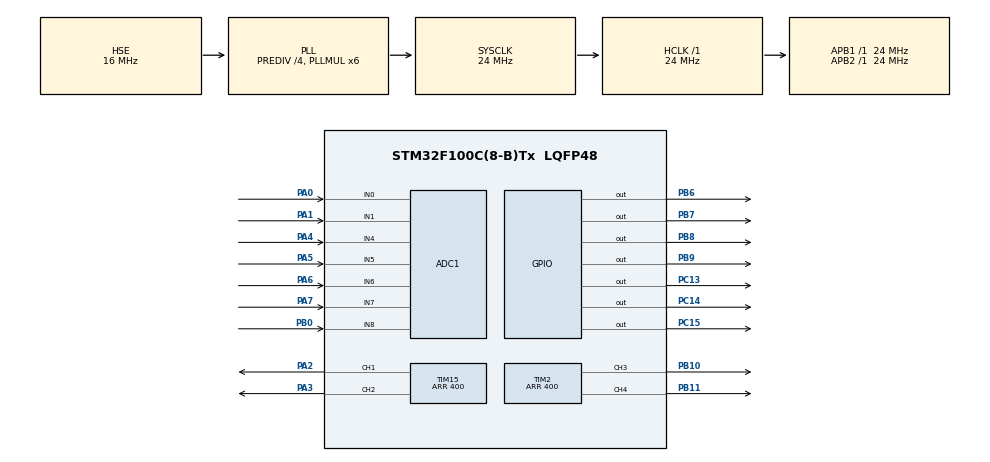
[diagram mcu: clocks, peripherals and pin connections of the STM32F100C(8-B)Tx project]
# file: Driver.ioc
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ADC1.Channel-1\#ChannelRegularConversion=ADC_CHANNEL_0
ADC1.Channel-11\#ChannelRegularConversion=ADC_CHANNEL_1
ADC1.Channel-12\#ChannelRegularConversion=ADC_CHANNEL_4
ADC1.Channel-13\#ChannelRegularConversion=ADC_CHANNEL_5
ADC1.Channel-14\#ChannelRegularConversion=ADC_CHANNEL_6
ADC1.Channel-15\#ChannelRegularConversion=ADC_CHANNEL_7
ADC1.Channel-16\#ChannelRegularConversion=ADC_CHANNEL_8
ADC1.ContinuousConvMode=ENABLE
ADC1.DataAlign=ADC_DATAALIGN_RIGHT
ADC1.DiscontinuousConvMode=DISABLE
ADC1.EnableAnalogWatchDog=false
ADC1.EnableRegularConversion=ENABLE
ADC1.ExternalTrigConvEdgeChoice=NONE
ADC1.InjNumberOfConversion=0
ADC1.NbrOfConversion=7
ADC1.NbrOfConversionFlag=1
ADC1.Rank-1\#ChannelRegularConversion=1
ADC1.Rank-11\#ChannelRegularConversion=2
ADC1.Rank-12\#ChannelRegularConversion=3
ADC1.Rank-13\#ChannelRegularConversion=4
ADC1.Rank-14\#ChannelRegularConversion=5
ADC1.Rank-15\#ChannelRegularConversion=6
ADC1.Rank-16\#ChannelRegularConversion=7
ADC1.SamplingTime-1\#ChannelRegularConversion=ADC_SAMPLETIME_239CYCLES_5
ADC1.SamplingTime-11\#ChannelRegularConversion=ADC_SAMPLETIME_239CYCLES_5
ADC1.SamplingTime-12\#ChannelRegularConversion=ADC_SAMPLETIME_1CYCLE_5
ADC1.SamplingTime-13\#ChannelRegularConversion=ADC_SAMPLETIME_1CYCLE_5
ADC1.SamplingTime-14\#ChannelRegularConversion=ADC_SAMPLETIME_1CYCLE_5
ADC1.SamplingTime-15\#ChannelRegularConversion=ADC_SAMPLETIME_1CYCLE_5
ADC1.SamplingTime-16\#ChannelRegularConversion=ADC_SAMPLETIME_1CYCLE_5
ADC1.ScanConvMode=ADC_SCAN_ENABLE
ADC1.master=1
Dma.ADC1.0.Direction=DMA_PERIPH_TO_MEMORY
Dma.ADC1.0.Instance=DMA1_Channel1
Dma.ADC1.0.MemDataAlignment=DMA_MDATAALIGN_HALFWORD
Dma.ADC1.0.MemInc=DMA_MINC_ENABLE
Dma.ADC1.0.Mode=DMA_CIRCULAR
Dma.ADC1.0.PeriphDataAlignment=DMA_PDATAALIGN_HALFWORD
Dma.ADC1.0.PeriphInc=DMA_PINC_DISABLE
Dma.ADC1.0.Priority=DMA_PRIORITY_LOW
Dma.Request0=ADC1
Mcu.Family=STM32F1
Mcu.Name=STM32F100C(8-B)Tx
Mcu.Package=LQFP48
NVIC.DMA1_Channel1_IRQn=true\:0\:0\:false\:false\:true
NVIC.PriorityGroup=NVIC_PRIORITYGROUP_4
NVIC.TIM6_DAC_IRQn=true\:7\:0\:true\:false\:true
PA0-WKUP.Signal=ADCx_IN0
PA1.Signal=ADCx_IN1
PA13.Mode=Serial_Wire
PA13.Signal=SYS_JTMS-SWDIO
PA14.Mode=Serial_Wire
PA14.Signal=SYS_JTCK-SWCLK
PA2.Signal=S_TIM15_CH1
PA3.Signal=S_TIM15_CH2
PA4.Signal=ADCx_IN4
PA5.Signal=ADCx_IN5
PA6.Signal=ADCx_IN6
PA7.Signal=ADCx_IN7
PB0.Signal=ADCx_IN8
PB10.Signal=S_TIM2_CH3
PB11.Signal=S_TIM2_CH4
PB6.Signal=GPIO_Output
PB7.Signal=GPIO_Output
PB8.Signal=GPIO_Output
PB9.Signal=GPIO_Output
PC13-TAMPER-RTC.Signal=GPIO_Output
PC14-OSC32_IN.Signal=GPIO_Output
PC15-OSC32_OUT.Signal=GPIO_Output
PD0-OSC_IN.Mode=HSE-External-Oscillator
PD0-OSC_IN.Signal=RCC_OSC_IN
PD1-OSC_OUT.Mode=HSE-External-Oscillator
PD1-OSC_OUT.Signal=RCC_OSC_OUT
ProjectManager.HeapSize=0x200
ProjectManager.StackSize=0x400
ProjectManager.TargetToolchain=MDK-ARM V4
RCC.AHBFreq_Value=24000000
RCC.APB1Freq_Value=24000000
RCC.APB1TimFreq_Value=24000000
RCC.APB2Freq_Value=24000000
RCC.APB2TimFreq_Value=24000000
RCC.HCLKFreq_Value=24000000
RCC.HSEDivPLL=RCC_HSE_PREDIV_DIV4
RCC.HSE_VALUE=16000000
RCC.PLLMUL=RCC_PLL_MUL6
RCC.PLLSource=RCC_PLLSOURCE_HSE
RCC.SYSCLKFreq_VALUE=24000000
RCC.SYSCLKSource=RCC_SYSCLKSOURCE_PLLCLK
SH.ADCx_IN0.0=ADC1_IN0,IN0
SH.ADCx_IN1.0=ADC1_IN1,IN1
SH.ADCx_IN4.0=ADC1_IN4,IN4
SH.ADCx_IN5.0=ADC1_IN5,IN5
SH.ADCx_IN6.0=ADC1_IN6,IN6
SH.ADCx_IN7.0=ADC1_IN7,IN7
SH.ADCx_IN8.0=ADC1_IN8,IN8
SH.S_TIM15_CH1.0=TIM15_CH1,PWM Generation1 CH1
SH.S_TIM15_CH2.0=TIM15_CH2,PWM Generation2 CH2
SH.S_TIM2_CH3.0=TIM2_CH3,PWM Generation3 CH3
SH.S_TIM2_CH4.0=TIM2_CH4,PWM Generation4 CH4
TIM15.Channel-PWM\ Generation2\ CH2=TIM_CHANNEL_2
TIM15.Period=400
TIM2.Channel-PWM\ Generation3\ CH3=TIM_CHANNEL_3
TIM2.Channel-PWM\ Generation4\ CH4=TIM_CHANNEL_4
TIM2.Period=400
TIM6.Period=50
TIM6.Prescaler=23999
TIM6.TIM_MasterOutputTrigger=TIM_TRGO_UPDATE
VP_TIM6_VS_ClockSourceINT.Mode=Enable_Timer
board=Driver

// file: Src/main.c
/**
  ******************************************************************************
  * File Name          : main.c
  * Description        : Main program body
  ******************************************************************************
  *
  * COPYRIGHT(c) 2016 STMicroelectronics
  *
  * Redistribution and use in source and binary forms, with or without modification,
  * are permitted provided that the following conditions are met:
  *   1. Redistributions of source code must retain the above copyright notice,
  *      this list of conditions and the following disclaimer.
  *   2. Redistributions in binary form must reproduce the above copyright notice,
  *      this list of conditions and the following disclaimer in the documentation
  *      and/or other materials provided with the distribution.
  *   3. Neither the name of STMicroelectronics nor the names of its contributors
  *      may be used to endorse or promote products derived from this software
  *      without specific prior written permission.
  *
  * THIS SOFTWARE IS PROVIDED BY THE COPYRIGHT HOLDERS AND CONTRIBUTORS "AS IS"
  * AND ANY EXPRESS OR IMPLIED WARRANTIES, INCLUDING, BUT NOT LIMITED TO, THE
  * IMPLIED WARRANTIES OF MERCHANTABILITY AND FITNESS FOR A PARTICULAR PURPOSE ARE
  * DISCLAIMED. IN NO EVENT SHALL THE COPYRIGHT HOLDER OR CONTRIBUTORS BE LIABLE
  * FOR ANY DIRECT, INDIRECT, INCIDENTAL, SPECIAL, EXEMPLARY, OR CONSEQUENTIAL
  * DAMAGES (INCLUDING, BUT NOT LIMITED TO, PROCUREMENT OF SUBSTITUTE GOODS OR
  * SERVICES; LOSS OF USE, DATA, OR PROFITS; OR BUSINESS INTERRUPTION) HOWEVER
  * CAUSED AND ON ANY THEORY OF LIABILITY, WHETHER IN CONTRACT, STRICT LIABILITY,
  * OR TORT (INCLUDING NEGLIGENCE OR OTHERWISE) ARISING IN ANY WAY OUT OF THE USE
  * OF THIS SOFTWARE, EVEN IF ADVISED OF THE POSSIBILITY OF SUCH DAMAGE.
  *
  ******************************************************************************
  */
#include "stm32f1xx_hal.h"

/* USER CODE BEGIN Includes */
#include "stdbool.h"

/* USER CODE END Includes */

ADC_HandleTypeDef hadc1;
DMA_HandleTypeDef hdma_adc1;

TIM_HandleTypeDef htim2;
TIM_HandleTypeDef htim6;
TIM_HandleTypeDef htim15;

/* USER CODE BEGIN PV */
/* Private variables ---------------------------------------------------------*/
#define delay HAL_Delay
// ADC constants===============================================================
#define Vref 3.283
#define ADC_Koef Vref/4095.0
#define CH0_Koef 1.0*ADC_Koef             //gears
#define CH1_Koef 1.0*ADC_Koef             //control
#define CH4_Koef 1.063*5.0*ADC_Koef       //Step UP 1
#define CH5_Koef 1.054*5.0*ADC_Koef        //Step UP 2
#define CH6_Koef 1.048*ADC_Koef/Koy1/R1   //I LED
#define CH7_Koef 1.0*2.0*ADC_Koef         //U LED
#define CH8_Koef 1.033*2.0*ADC_Koef       //U POWER
#define Koy1 10.1
#define R1 0.1
float CHx_Koef[]={CH0_Koef,CH1_Koef,CH4_Koef,CH5_Koef,CH6_Koef,CH7_Koef,CH8_Koef};
#define ADC_Gears    0
#define ADC_Control  1
#define ADC_Stab1U   2
#define ADC_Stab2U   3
#define ADC_Stab3I   4
#define ADC_Stab3U   5
#define ADC_InU      6
//=============================================================================
#define green_led_pin GPIO_PIN_7
#define green_led_port GPIOB
#define green_led_on  HAL_GPIO_WritePin(green_led_port,green_led_pin,GPIO_PIN_SET);
#define green_led_off HAL_GPIO_WritePin(green_led_port,green_led_pin,GPIO_PIN_RESET);
uint8_t green_led_state=0;

#define red_led_pin GPIO_PIN_6
#define red_led_port GPIOB
#define red_led_on  HAL_GPIO_WritePin(red_led_port,red_led_pin,GPIO_PIN_SET);
#define red_led_off HAL_GPIO_WritePin(red_led_port,red_led_pin,GPIO_PIN_RESET);
uint8_t red_led_state=0;

#define red_light_pin GPIO_PIN_14
#define red_light_port GPIOC
#define red_light_on  HAL_GPIO_WritePin(red_light_port,red_light_pin,GPIO_PIN_SET);
#define red_light_off HAL_GPIO_WritePin(red_light_port,red_light_pin,GPIO_PIN_RESET);
uint8_t red_light_state=0;

#define red_strip_pin GPIO_PIN_13
#define red_strip_port GPIOC
#define red_strip_on  HAL_GPIO_WritePin(red_strip_port,red_strip_pin,GPIO_PIN_SET);
#define red_strip_off HAL_GPIO_WritePin(red_strip_port,red_strip_pin,GPIO_PIN_RESET);
uint8_t red_strip_state=0;

#define green_strip_pin GPIO_PIN_9
#define green_strip_port GPIOB
#define green_strip_on  HAL_GPIO_WritePin(green_strip_port,green_strip_pin,GPIO_PIN_SET);
#define green_strip_off HAL_GPIO_WritePin(green_strip_port,green_strip_pin,GPIO_PIN_RESET);
uint8_t green_strip_state=0;

#define blue_strip_pin GPIO_PIN_8
#define blue_strip_port GPIOB
#define blue_strip_on  HAL_GPIO_WritePin(blue_strip_port,blue_strip_pin,GPIO_PIN_SET);
#define blue_strip_off HAL_GPIO_WritePin(blue_strip_port,blue_strip_pin,GPIO_PIN_RESET);
uint8_t blue_strip_state=0;

uint8_t adc_channel = 0;
uint16_t adc_value[8]={0,0,0,0,0,0,0,0};

#define MaxButtonCount 10
#define ButtonsADCRange 100
uint16_t buttons[MaxButtonCount]={1965,2170,2383,2703,3060};
#define button_count 5
uint8_t button_action[button_count]={1,2,3,4,5};
uint8_t button_pressed=false;

HAL_StatusTypeDef s,s2;

bool Ready=false;

/* USER CODE END PV */

void SystemClock_Config(void);
static void MX_GPIO_Init(void);
static void MX_DMA_Init(void);
static void MX_ADC1_Init(void);
static void MX_TIM2_Init(void);
static void MX_TIM15_Init(void);
static void MX_TIM6_Init(void);

void HAL_TIM_MspPostInit(TIM_HandleTypeDef *htim);

/* USER CODE BEGIN PFP */
/* Private function prototypes -----------------------------------------------*/

//****************************************
#define StepUp1_max_value 1000
#define StepUp2_max_value 1000
#define StepUp3_max_value   1000
#define StepDown3_max_value 1000

struct StabU
{
	uint16_t U;
	uint16_t Unow;
	uint16_t StepUpMaxValue;
	uint16_t StepUpValue;
	uint8_t ADC_CH;
	bool run;
	bool error;
	bool state;
  TIM_HandleTypeDef *TIM;
	uint32_t TIM_CH;
	__IO uint32_t *TIM_Value;
}StabU1,StabU2;

struct StabI
{
	uint16_t Umax;
	uint16_t Unow;
	uint16_t I;
	uint16_t Inow;
	uint16_t StepUpMaxValue;
	uint16_t StepUpValue;
	uint16_t StepDownValue;
	uint16_t StepDownMaxValue;
	uint8_t ADC_I_CH;
	uint8_t ADC_U_CH;
	bool run;
	bool error;
	bool state;
	bool StepUP_state;
	bool StepDown_state;
  TIM_HandleTypeDef *TIM_UP;
	TIM_HandleTypeDef *TIM_DOWN;
	uint32_t TIM_UP_CH;
	uint32_t TIM_DOWN_CH;
	__IO uint32_t *TIM_UP_Value;
	__IO uint32_t *TIM_DOWN_Value;
}StabI1;
struct Power
{
	uint16_t U;
	uint16_t Umin;
	uint16_t Uwarning;
	uint8_t warning;
	uint8_t run;
}power;
void StepUpState (struct StabU *);
void StepUpDownState (struct StabI *);

void StepUpValue(struct StabU *,uint16_t);

void StepUpValue_inc(struct StabU *);
void StepUpValue_dec(struct StabU *);

void StepUpDownValue_inc(struct StabI *stab);
void StepUpDownValue_dec(struct StabI *stab);

void Core0(void);
void Core2A(void);
void Core2B(void);

void StabU_Procc(struct StabU *stab);
void StabI_Procc(struct StabI *stab);

uint8_t CheckButtons(void);

//******** Core0 temps ****************
float I;

uint8_t SYS_FCLK;

uint8_t color=0;

void ChangeColor(void);
/* USER CODE END PFP */

/* USER CODE BEGIN 0 */
//>>>>>>>>>>>>>>>>>>>>>>>>>>>>>>>>>>>>>>>>>>>>>>>>>>>>>>>>>>>>>>>>>>>>>>>>>>>>>>>>>>>>>>>
void delay_us(uint16_t time_)
{
	uint32_t time;
	time=time_;
	time*=SYS_FCLK;
	time/=3;
  while(time--);
}
void delay_ms(uint16_t ms)
{
	while(ms--) delay_us(1000);
}

uint16_t GetImA(char ch)
{
	//uint16_t I;
	I=adc_value[ch];
	I*=(CHx_Koef[ch] * 1000.0);
	return I;
}

uint16_t GetUmv(char ch)
{
	uint16_t U;
	U=adc_value[ch];
	U*=(CHx_Koef[ch] * 1000.0);
	return U;
}
float GetU(char ch)
{
	float U;
	U=adc_value[ch];
	U*=CHx_Koef[ch];
	return U;
}
void StabU_Procc(struct StabU *stab)
{
	uint16_t U,Unow;
	if(stab->run!=stab->state)
	{
		StepUpState(stab);
	}
	else if(stab->run)
	{
		U=stab->U;
		Unow=GetUmv(stab->ADC_CH);
		stab->Unow=Unow;
		if(Unow>U)
		{
			StepUpValue_dec(stab);
		}
		else if(Unow<U)
		{
			StepUpValue_inc(stab);
		}
	}
}
void StabI_Procc(struct StabI *stab)
{
	uint16_t I,Inow,Unow;
	if(stab->run!=stab->state)
	{
		StepUpDownState(stab);
	}
	else if(stab->run)
	{
		I=stab->I;
		Inow=GetImA(stab->ADC_I_CH);
		Unow=GetUmv(stab->ADC_U_CH);
		stab->Unow=Unow;
		stab->Inow=Inow;
		if(Inow>I )//|| Unow>stab->Umax
		{
			StepUpDownValue_dec(stab);
		}
		else if(Inow<I)
		{
			if((*(stab->TIM_UP_Value))==0) StepUpDownValue_inc(stab);
			else if(Unow<stab->Umax)
			{
				StepUpDownValue_inc(stab);
			}
			else
			{
				StepUpDownValue_dec(stab);
				stab->error=true;
			}
		}
	}
}
uint8_t RedLightState(void)
{
	return red_light_state;
}
void RedLightSetState(uint8_t state)
{
	red_light_state=state;
	if(state) red_light_on
		else red_light_off
}
void RedLightInvState(void)
{
RedLightSetState(!RedLightState());
}
uint8_t GreenLedState(void)
{
	return green_led_state;
}
void GreenLedSetState(uint8_t state)
{
	green_led_state=state;
	if(state) green_led_on
		else green_led_off
}
void GreenLedInvState(void)
{
GreenLedSetState(!GreenLedState());
}
uint8_t RedLedState(void)
{
	return red_led_state;
}
void RedLedSetState(uint8_t state)
{
	red_led_state=state;
	if(state) red_led_on
	else red_led_off
}
void RedLedInvState(void)
{
RedLedSetState(!RedLedState());
}
//***************************************************
void Core0(void)
{
	StabU_Procc(&StabU1);
	StabU_Procc(&StabU2);
	StabI_Procc(&StabI1);
}
//***************************************************

//**************************************************
void Core2A(void)
{
	uint8_t number;
	if(Ready)
	{
	number=CheckButtons();
	if(number)
	{
	if(!button_pressed)
 	 {
		button_pressed=true;
	  switch(button_action[number-1])
	  	{
			case 1:
			  StabI1.run=!StabI1.run;
      break;
			case 2:
				RedLightInvState();
      break;
			case 3:
	   	  StabU1.run=!StabU1.run;
      break;
			case 4:
			  StabU2.run=!StabU2.run;
			break;
			case 5:
				 ChangeColor();
		  break;
      default : break;
		  }
	  }
   }
	else button_pressed=false;
 }
}
//---------------------------------------------------
void Core2B(void)
{
	if(Ready)
	{
	power.U=GetUmv(ADC_InU);
	delay_us(10);
	power.U+=GetUmv(ADC_InU);
	delay_us(10);
	power.U+=GetUmv(ADC_InU);
	power.U/=3;

	if(power.U<power.Umin) power.run=false;
	if(power.U<=power.Uwarning)
	{
		power.warning=true;
	}
   else
	 {
		 power.warning=false;
	 }
  if(!power.run)
   {
		 StabI1.run=false;
		 StepUpDownState(&StabI1);
		 StabU1.run=false;
		 StepUpState(&StabU1);
		 StabU2.run=false;
		 StepUpState(&StabU2);
		 RedLightSetState(false);
     green_led_off
		 red_led_on
		 HAL_PWR_EnterSTANDBYMode();
		 while(true);
   }
	 if(power.warning)
	{
		GreenLedSetState(false);
		RedLedInvState();
	}
	else
	{
		GreenLedSetState(true);
		RedLedSetState(false);
	}
 }
}

//*************************************************
/* USER CODE END 0 */

int main(void)
{

  /* MCU Configuration----------------------------------------------------------*/

  /* Reset of all peripherals, Initializes the Flash interface and the Systick. */
  HAL_Init();

  /* Configure the system clock */
  SystemClock_Config();

  /* Initialize all configured peripherals */
  MX_GPIO_Init();
  MX_DMA_Init();
  MX_ADC1_Init();
  MX_TIM2_Init();
  MX_TIM15_Init();
  MX_TIM6_Init();

  /* USER CODE BEGIN 2 */
	SYS_FCLK=HAL_RCC_GetHCLKFreq()/1e+6;

	//HAL_TIM_Base_Start_IT(&htim1);          // timers interrupt
	HAL_TIM_Base_Start_IT(&htim6);

	power.Umin=2850;
	power.Uwarning=3200;
	power.run=true;
	delay(500);

	__enable_irq();

	//HAL_ADC_Start_IT(&hadc1);
	HAL_ADC_Start_DMA(&hadc1,(uint32_t *)adc_value,7);
	hdma_adc1.Instance->CCR^=DMA_CCR_TCIE | DMA_CCR_HTIE | DMA_CCR_TEIE;
	//HAL_UART_Receive_DMA(&huart1,GPS_buffer,GPS_buffer_size);

  // Stabs Init*********************
  StabU1.ADC_CH=ADC_Stab1U;
	StabU1.state=false;
	StabU1.StepUpMaxValue=300;
	StabU1.StepUpValue=0;
	StabU1.TIM=&htim15;
	StabU1.TIM_CH=TIM_CHANNEL_1;
	StabU1.TIM_Value=&(TIM15->CCR1);
	StabU1.U=7000;
	StabU1.run=false;

  StabU2.ADC_CH=ADC_Stab2U;
	StabU2.state=false;
	StabU2.StepUpMaxValue=250;
	StabU2.StepUpValue=0;
	StabU2.TIM=&htim15;
	StabU2.TIM_CH=TIM_CHANNEL_2;
	StabU2.TIM_Value=&(TIM15->CCR2);
	StabU2.U=10500;
	StabU2.run=false;

	StabI1.ADC_I_CH=ADC_Stab3I;
	StabI1.ADC_U_CH=ADC_Stab3U;
	StabI1.I=300;
	StabI1.Umax=6000;
	StabI1.StepDownMaxValue=400;
	StabI1.StepUpMaxValue=250;
	StabI1.TIM_DOWN=&htim2;
	StabI1.TIM_DOWN_CH=TIM_CHANNEL_3;
	StabI1.TIM_DOWN_Value=&(TIM2->CCR3);
	StabI1.TIM_UP=&htim2;
	StabI1.TIM_UP_CH=TIM_CHANNEL_4;
	StabI1.TIM_UP_Value=&(TIM2->CCR4);
	StabI1.state=false;
  StabI1.run=false;

	green_strip_on

	Ready=true;

  /* USER CODE END 2 */

  /* Infinite loop */
  while (1)
  {

  /* USER CODE BEGIN 3 */
    Core0();
  }
  /* USER CODE END 3 */

}

/** System Clock Configuration
*/
void SystemClock_Config(void)
{

  RCC_OscInitTypeDef RCC_OscInitStruct;
  RCC_ClkInitTypeDef RCC_ClkInitStruct;
  RCC_PeriphCLKInitTypeDef PeriphClkInit;

  RCC_OscInitStruct.OscillatorType = RCC_OSCILLATORTYPE_HSE;
  RCC_OscInitStruct.HSEState = RCC_HSE_ON;
  RCC_OscInitStruct.HSEPredivValue = RCC_HSE_PREDIV_DIV4;
  RCC_OscInitStruct.PLL.PLLState = RCC_PLL_ON;
  RCC_OscInitStruct.PLL.PLLSource = RCC_PLLSOURCE_HSE;
  RCC_OscInitStruct.PLL.PLLMUL = RCC_PLL_MUL6;
  HAL_RCC_OscConfig(&RCC_OscInitStruct);

  RCC_ClkInitStruct.ClockType = RCC_CLOCKTYPE_HCLK|RCC_CLOCKTYPE_SYSCLK
                              |RCC_CLOCKTYPE_PCLK1|RCC_CLOCKTYPE_PCLK2;
  RCC_ClkInitStruct.SYSCLKSource = RCC_SYSCLKSOURCE_PLLCLK;
  RCC_ClkInitStruct.AHBCLKDivider = RCC_SYSCLK_DIV1;
  RCC_ClkInitStruct.APB1CLKDivider = RCC_HCLK_DIV1;
  RCC_ClkInitStruct.APB2CLKDivider = RCC_HCLK_DIV1;
  HAL_RCC_ClockConfig(&RCC_ClkInitStruct, FLASH_LATENCY_0);

  PeriphClkInit.PeriphClockSelection = RCC_PERIPHCLK_ADC;
  PeriphClkInit.AdcClockSelection = RCC_ADCPCLK2_DIV2;
  HAL_RCCEx_PeriphCLKConfig(&PeriphClkInit);

  HAL_SYSTICK_Config(HAL_RCC_GetHCLKFreq()/1000);

  HAL_SYSTICK_CLKSourceConfig(SYSTICK_CLKSOURCE_HCLK);

  /* SysTick_IRQn interrupt configuration */
  HAL_NVIC_SetPriority(SysTick_IRQn, 0, 0);
}

/* ADC1 init function */
void MX_ADC1_Init(void)
{

  ADC_ChannelConfTypeDef sConfig;

    /**Common config
    */
  hadc1.Instance = ADC1;
  hadc1.Init.ScanConvMode = ADC_SCAN_ENABLE;
  hadc1.Init.ContinuousConvMode = ENABLE;
  hadc1.Init.DiscontinuousConvMode = DISABLE;
  hadc1.Init.ExternalTrigConv = ADC_SOFTWARE_START;
  hadc1.Init.DataAlign = ADC_DATAALIGN_RIGHT;
  hadc1.Init.NbrOfConversion = 7;
  HAL_ADC_Init(&hadc1);

    /**Configure Regular Channel
    */
  sConfig.Channel = ADC_CHANNEL_0;
  sConfig.Rank = 1;
  sConfig.SamplingTime = ADC_SAMPLETIME_239CYCLES_5;
  HAL_ADC_ConfigChannel(&hadc1, &sConfig);

    /**Configure Regular Channel
    */
  sConfig.Channel = ADC_CHANNEL_1;
  sConfig.Rank = 2;
  HAL_ADC_ConfigChannel(&hadc1, &sConfig);

    /**Configure Regular Channel
    */
  sConfig.Channel = ADC_CHANNEL_4;
  sConfig.Rank = 3;
  sConfig.SamplingTime = ADC_SAMPLETIME_1CYCLE_5;
  HAL_ADC_ConfigChannel(&hadc1, &sConfig);

    /**Configure Regular Channel
    */
  sConfig.Channel = ADC_CHANNEL_5;
  sConfig.Rank = 4;
  HAL_ADC_ConfigChannel(&hadc1, &sConfig);

    /**Configure Regular Channel
    */
  sConfig.Channel = ADC_CHANNEL_6;
  sConfig.Rank = 5;
  HAL_ADC_ConfigChannel(&hadc1, &sConfig);

    /**Configure Regular Channel
    */
  sConfig.Channel = ADC_CHANNEL_7;
  sConfig.Rank = 6;
  HAL_ADC_ConfigChannel(&hadc1, &sConfig);

    /**Configure Regular Channel
    */
  sConfig.Channel = ADC_CHANNEL_8;
  sConfig.Rank = 7;
  HAL_ADC_ConfigChannel(&hadc1, &sConfig);

}

/* TIM2 init function */
void MX_TIM2_Init(void)
{

  TIM_MasterConfigTypeDef sMasterConfig;
  TIM_OC_InitTypeDef sConfigOC;

  htim2.Instance = TIM2;
  htim2.Init.Prescaler = 0;
  htim2.Init.CounterMode = TIM_COUNTERMODE_UP;
  htim2.Init.Period = 400;
  htim2.Init.ClockDivision = TIM_CLOCKDIVISION_DIV1;
  HAL_TIM_PWM_Init(&htim2);

  sMasterConfig.MasterOutputTrigger = TIM_TRGO_RESET;
  sMasterConfig.MasterSlaveMode = TIM_MASTERSLAVEMODE_DISABLE;
  HAL_TIMEx_MasterConfigSynchronization(&htim2, &sMasterConfig);

  sConfigOC.OCMode = TIM_OCMODE_PWM1;
  sConfigOC.Pulse = 0;
  sConfigOC.OCPolarity = TIM_OCPOLARITY_HIGH;
  sConfigOC.OCFastMode = TIM_OCFAST_DISABLE;
  HAL_TIM_PWM_ConfigChannel(&htim2, &sConfigOC, TIM_CHANNEL_3);

  HAL_TIM_PWM_ConfigChannel(&htim2, &sConfigOC, TIM_CHANNEL_4);

  HAL_TIM_MspPostInit(&htim2);

}

/* TIM6 init function */
void MX_TIM6_Init(void)
{

  TIM_MasterConfigTypeDef sMasterConfig;

  htim6.Instance = TIM6;
  htim6.Init.Prescaler = 23999;
  htim6.Init.CounterMode = TIM_COUNTERMODE_UP;
  htim6.Init.Period = 50;
  HAL_TIM_Base_Init(&htim6);

  sMasterConfig.MasterOutputTrigger = TIM_TRGO_UPDATE;
  sMasterConfig.MasterSlaveMode = TIM_MASTERSLAVEMODE_DISABLE;
  HAL_TIMEx_MasterConfigSynchronization(&htim6, &sMasterConfig);

}

/* TIM15 init function */
void MX_TIM15_Init(void)
{

  TIM_MasterConfigTypeDef sMasterConfig;
  TIM_BreakDeadTimeConfigTypeDef sBreakDeadTimeConfig;
  TIM_OC_InitTypeDef sConfigOC;

  htim15.Instance = TIM15;
  htim15.Init.Prescaler = 0;
  htim15.Init.CounterMode = TIM_COUNTERMODE_UP;
  htim15.Init.Period = 400;
  htim15.Init.ClockDivision = TIM_CLOCKDIVISION_DIV1;
  htim15.Init.RepetitionCounter = 0;
  HAL_TIM_PWM_Init(&htim15);

  sMasterConfig.MasterOutputTrigger = TIM_TRGO_RESET;
  sMasterConfig.MasterSlaveMode = TIM_MASTERSLAVEMODE_DISABLE;
  HAL_TIMEx_MasterConfigSynchronization(&htim15, &sMasterConfig);

  sBreakDeadTimeConfig.OffStateRunMode = TIM_OSSR_DISABLE;
  sBreakDeadTimeConfig.OffStateIDLEMode = TIM_OSSI_DISABLE;
  sBreakDeadTimeConfig.LockLevel = TIM_LOCKLEVEL_OFF;
  sBreakDeadTimeConfig.DeadTime = 0;
  sBreakDeadTimeConfig.BreakState = TIM_BREAK_DISABLE;
  sBreakDeadTimeConfig.BreakPolarity = TIM_BREAKPOLARITY_HIGH;
  sBreakDeadTimeConfig.AutomaticOutput = TIM_AUTOMATICOUTPUT_DISABLE;
  HAL_TIMEx_ConfigBreakDeadTime(&htim15, &sBreakDeadTimeConfig);

  sConfigOC.OCMode = TIM_OCMODE_PWM1;
  sConfigOC.Pulse = 0;
  sConfigOC.OCPolarity = TIM_OCPOLARITY_HIGH;
  sConfigOC.OCNPolarity = TIM_OCNPOLARITY_HIGH;
  sConfigOC.OCFastMode = TIM_OCFAST_DISABLE;
  sConfigOC.OCIdleState = TIM_OCIDLESTATE_RESET;
  sConfigOC.OCNIdleState = TIM_OCNIDLESTATE_RESET;
  HAL_TIM_PWM_ConfigChannel(&htim15, &sConfigOC, TIM_CHANNEL_1);

  HAL_TIM_PWM_ConfigChannel(&htim15, &sConfigOC, TIM_CHANNEL_2);

  HAL_TIM_MspPostInit(&htim15);

}

void MX_DMA_Init(void)
{
  /* DMA controller clock enable */
  __HAL_RCC_DMA1_CLK_ENABLE();

  /* DMA interrupt init */
  /* DMA1_Channel1_IRQn interrupt configuration */
  HAL_NVIC_SetPriority(DMA1_Channel1_IRQn, 0, 0);
  HAL_NVIC_EnableIRQ(DMA1_Channel1_IRQn);

}

/** Configure pins as
        * Analog
        * Input
        * Output
        * EVENT_OUT
        * EXTI
        * Free pins are configured automatically as Analog (this feature is enabled through
        * the Code Generation settings)
*/
void MX_GPIO_Init(void)
{

  GPIO_InitTypeDef GPIO_InitStruct;

  /* GPIO Ports Clock Enable */
  __HAL_RCC_GPIOC_CLK_ENABLE();
  __HAL_RCC_GPIOD_CLK_ENABLE();
  __HAL_RCC_GPIOA_CLK_ENABLE();
  __HAL_RCC_GPIOB_CLK_ENABLE();

  /*Configure GPIO pin Output Level */
  HAL_GPIO_WritePin(GPIOC, GPIO_PIN_13|GPIO_PIN_14|GPIO_PIN_15, GPIO_PIN_RESET);

  /*Configure GPIO pin Output Level */
  HAL_GPIO_WritePin(GPIOB, GPIO_PIN_6|GPIO_PIN_7|GPIO_PIN_8|GPIO_PIN_9, GPIO_PIN_RESET);

  /*Configure GPIO pins : PC13 PC14 PC15 */
  GPIO_InitStruct.Pin = GPIO_PIN_13|GPIO_PIN_14|GPIO_PIN_15;
  GPIO_InitStruct.Mode = GPIO_MODE_OUTPUT_PP;
  GPIO_InitStruct.Speed = GPIO_SPEED_FREQ_LOW;
  HAL_GPIO_Init(GPIOC, &GPIO_InitStruct);

  /*Configure GPIO pins : PB1 PB2 PB12 PB13
                           PB14 PB15 PB3 PB4
                           PB5 */
  GPIO_InitStruct.Pin = GPIO_PIN_1|GPIO_PIN_2|GPIO_PIN_12|GPIO_PIN_13
                          |GPIO_PIN_14|GPIO_PIN_15|GPIO_PIN_3|GPIO_PIN_4
                          |GPIO_PIN_5;
  GPIO_InitStruct.Mode = GPIO_MODE_ANALOG;
  HAL_GPIO_Init(GPIOB, &GPIO_InitStruct);

  /*Configure GPIO pins : PA8 PA9 PA10 PA11
                           PA12 PA15 */
  GPIO_InitStruct.Pin = GPIO_PIN_8|GPIO_PIN_9|GPIO_PIN_10|GPIO_PIN_11
                          |GPIO_PIN_12|GPIO_PIN_15;
  GPIO_InitStruct.Mode = GPIO_MODE_ANALOG;
  HAL_GPIO_Init(GPIOA, &GPIO_InitStruct);

  /*Configure GPIO pins : PB6 PB7 PB8 PB9 */
  GPIO_InitStruct.Pin = GPIO_PIN_6|GPIO_PIN_7|GPIO_PIN_8|GPIO_PIN_9;
  GPIO_InitStruct.Mode = GPIO_MODE_OUTPUT_PP;
  GPIO_InitStruct.Speed = GPIO_SPEED_FREQ_LOW;
  HAL_GPIO_Init(GPIOB, &GPIO_InitStruct);

}

/* USER CODE BEGIN 4 */

//>>>>>>>>>>>>>>>>>>>>>>>>>>>>>>>>>>>>>>>>>>>>>>>>>>>>>>>>>>>>>>>
//***************************************************************
//<<<<<<<<<<<<<<<<<<<<<<<<<<<<<<<<<<<<<<<<<<<<<<<<<<<<<<<<<<<<<<<
void StepUpValue_inc(struct StabU *stab)
{
	if((*(stab->TIM_Value))<(stab->StepUpMaxValue))
	{
    (*stab->TIM_Value)++;
	}
 else stab->error=true;
}

void StepUpValue_dec(struct StabU *stab)
{
	if((*(stab->TIM_Value))>0)
	{
		(*stab->TIM_Value)--;

	}
	else stab->error=true;
}
void StepUpDownValue_inc(struct StabI *stab)
{
	if((*(stab->TIM_DOWN_Value))<(stab->StepDownMaxValue))
	{
		 (*stab->TIM_DOWN_Value)++;
	}
	else if ((*(stab->TIM_UP_Value))<(stab->StepUpMaxValue))
	{
		 (*stab->TIM_UP_Value)++;
	}
	else stab->error=true;
}
void StepUpDownValue_dec(struct StabI *stab)
{
	if((*(stab->TIM_UP_Value))>0)
	{
		 (*stab->TIM_UP_Value)--;
	}
	else if ((*(stab->TIM_DOWN_Value))>0)
	{
		 (*stab->TIM_DOWN_Value)--;
	}
	else stab->error=true;
}

void StepUpState(struct StabU *stab)
{
	if(stab->run)
	{
	HAL_TIM_PWM_Start(stab->TIM,stab->TIM_CH);
	stab->error=false;
	}
	else
  {
	HAL_TIM_PWM_Stop(stab->TIM,stab->TIM_CH);
	*stab->TIM_Value=0;
	}
	stab->state=stab->run;
}
void StepUpDownState(struct StabI *stab)
{
	if(stab->run)
	{
  HAL_TIM_PWM_Start(stab->TIM_DOWN,stab->TIM_DOWN_CH);
	HAL_TIM_PWM_Start(stab->TIM_UP,stab->TIM_UP_CH);
	stab->error=false;
	}
	else
  {
	HAL_TIM_PWM_Stop(stab->TIM_DOWN,stab->TIM_DOWN_CH);
	HAL_TIM_PWM_Stop(stab->TIM_UP,stab->TIM_UP_CH);
	*stab->TIM_DOWN_Value=0;
  *stab->TIM_UP_Value=0;
	}
	stab->state=stab->run;
}

void StepUpValue(struct StabU *stab,uint16_t value)
{
	(*(stab->TIM_Value))=value;
}

uint8_t CheckButtons(void)  //return number of presses button 1..button_count
{
	uint8_t number;
	for(number=0;number<button_count;number++)
	{
		if(((buttons[number]-ButtonsADCRange)<adc_value[ADC_Control]) && (adc_value[ADC_Control]<(buttons[number]+ButtonsADCRange)))
		{
			break;
		}
	}
	if(number==button_count) number=0;
	else number++;
	return number;
}

void ChangeColor(void)
{
	green_strip_off
	red_strip_off
	blue_strip_off
	if(color<6) color++;
	else color=0;
	switch(color)
	{
		case 0:
		green_strip_on
		break;
		case 1:
		red_strip_on
		break;
		case 2:
		blue_strip_on
		break;
		case 3:
		red_strip_on
		green_strip_on
		break;
		case 4:
		red_strip_on
		blue_strip_on
		break;
		case 5:
		green_strip_on
		blue_strip_on
		break;
		case 6:
		green_strip_on
		blue_strip_on
		red_strip_on
		break;
	}
}
/* USER CODE END 4 */

/************************ (C) COPYRIGHT STMicroelectronics *****END OF FILE****/
